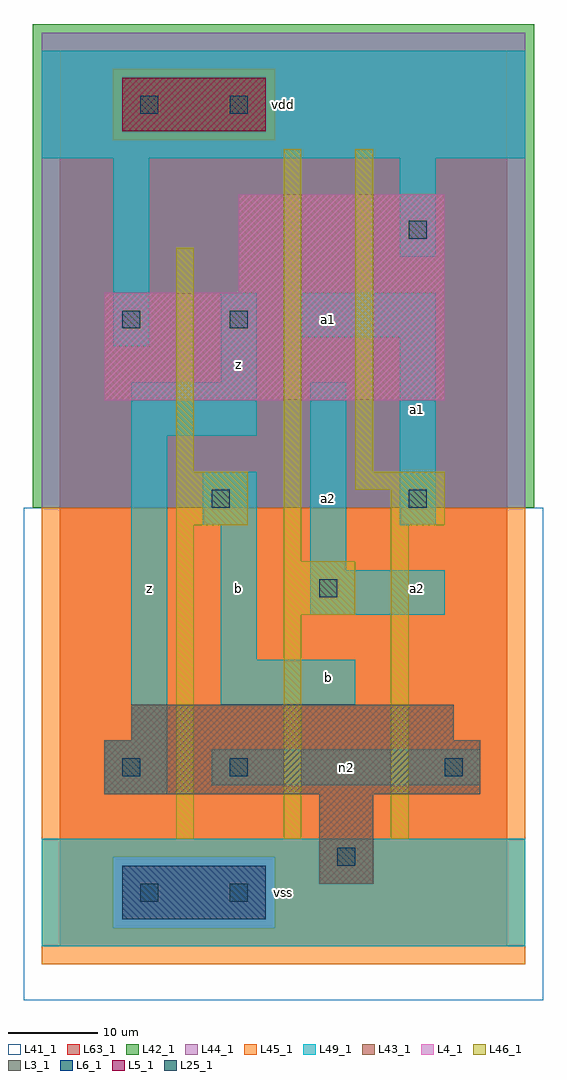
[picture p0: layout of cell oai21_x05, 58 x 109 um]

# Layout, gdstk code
import gdstk
lib = gdstk.Library(unit=1e-6, precision=1e-09)
def R(c, l, rs):  # rectangles x0, y0, x1, y1
    for r in rs: c.add(gdstk.rectangle(r[:2], r[2:], *l))
L3_1 = (3, 1)
L4_1 = (4, 1)
L5_1 = (5, 1)
L6_1 = (6, 1)
L25_1 = (25, 1)
L41_1 = (41, 1)
L42_1 = (42, 1)
L43_1 = (43, 1)
L44_1 = (44, 1)
L45_1 = (45, 1)
L46_1 = (46, 1)
L49_1 = (49, 1)
L63_1 = (63, 1)

oai21_x05 = lib.new_cell('oai21_x05')
R(oai21_x05, L3_1, [(29,7,35,17), (5,17,47,23), (8,23,44,27)])
R(oai21_x05, L4_1, [(5,61,43,73), (20,73,43,84)])
R(oai21_x05, L5_1, [(7,91,23,97)])
R(oai21_x05, L6_1, [(7,3,23,9)])
R(oai21_x05, L25_1, [(9,5,11,7), (19,5,21,7), (31,9,33,11), (7,19,9,21), (19,19,21,21), (43,19,45,21), (29,39,31,41), (17,49,19,51), (39,49,41,51), (7,69,9,71), (19,69,21,71), (39,79,41,81), (9,93,11,95), (19,93,21,95)])
R(oai21_x05, L41_1, [(-4,-6,54,49), (-3,-3,53,49)])
R(oai21_x05, L42_1, [(-3,49,53,103)])
R(oai21_x05, L43_1, [(7,3,23,9), (29,7,35,17), (5,17,47,23), (8,23,44,27), (5,61,43,73), (20,73,43,84), (7,91,23,97)])
R(oai21_x05, L44_1, [(6,2,24,10), (-2,49,52,90), (-2,90,6,98), (24,90,52,98), (-2,98,52,102)])
R(oai21_x05, L45_1, [(-2,-2,52,2), (-2,2,6,10), (24,2,52,10), (-2,10,52,49), (6,90,24,98)])
R(oai21_x05, L46_1, [(13,12,15,47), (25,12,27,37), (37,12,39,47), (25,37,33,43), (25,43,27,89), (13,47,21,53), (37,47,43,51), (33,51,43,53), (13,53,15,78), (33,53,35,89)])
R(oai21_x05, L49_1, [(-2,0,52,12), (5,17,12,23), (17,18,47,22), (8,23,12,57), (18,27,33,32), (18,32,22,47), (28,37,43,42), (28,42,32,63), (16,47,22,53), (38,47,42,68), (8,57,22,63), (18,63,22,73), (6,67,10,88), (27,68,42,73), (38,77,42,88), (-2,88,52,100)])
R(oai21_x05, L63_1, [(0,0,50,100)])
oai21_x05.add(gdstk.Label('z', (10,40), layer=49, texttype=1))
oai21_x05.add(gdstk.Label('z', (10,40), layer=49, texttype=1))
oai21_x05.add(gdstk.Label('b', (20,40), layer=49, texttype=1))
oai21_x05.add(gdstk.Label('b', (20,40), layer=49, texttype=1))
oai21_x05.add(gdstk.Label('z', (20,65), layer=49, texttype=1))
oai21_x05.add(gdstk.Label('z', (20,65), layer=49, texttype=1))
oai21_x05.add(gdstk.Label('vss', (25,6), layer=49, texttype=1))
oai21_x05.add(gdstk.Label('vss', (25,6), layer=49, texttype=1))
oai21_x05.add(gdstk.Label('b', (30,30), layer=49, texttype=1))
oai21_x05.add(gdstk.Label('b', (30,30), layer=49, texttype=1))
oai21_x05.add(gdstk.Label('a2', (30,50), layer=49, texttype=1))
oai21_x05.add(gdstk.Label('a2', (30,50), layer=49, texttype=1))
oai21_x05.add(gdstk.Label('a1', (30,70), layer=49, texttype=1))
oai21_x05.add(gdstk.Label('a1', (30,70), layer=49, texttype=1))
oai21_x05.add(gdstk.Label('vdd', (25,94), layer=49, texttype=1))
oai21_x05.add(gdstk.Label('vdd', (25,94), layer=49, texttype=1))
oai21_x05.add(gdstk.Label('n2', (32,20), layer=49, texttype=1))
oai21_x05.add(gdstk.Label('a2', (40,40), layer=49, texttype=1))
oai21_x05.add(gdstk.Label('a2', (40,40), layer=49, texttype=1))
oai21_x05.add(gdstk.Label('a1', (40,60), layer=49, texttype=1))
oai21_x05.add(gdstk.Label('a1', (40,60), layer=49, texttype=1))

lib.write_gds('oai21_x05.gds')
